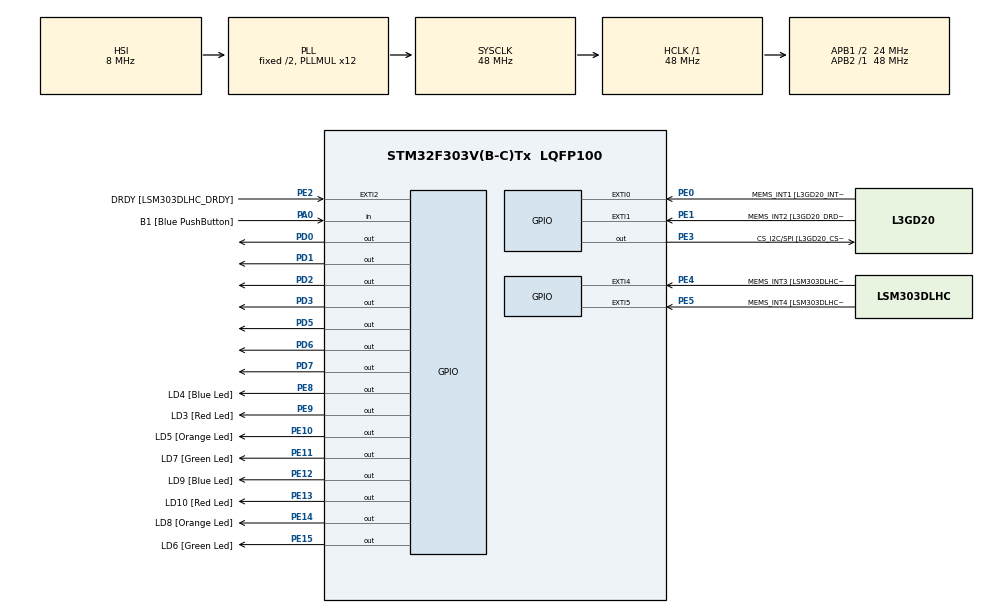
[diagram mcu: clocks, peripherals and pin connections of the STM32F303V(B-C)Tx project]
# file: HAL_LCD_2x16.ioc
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Mcu.Family=STM32F3
Mcu.Name=STM32F303V(B-C)Tx
Mcu.Package=LQFP100
NVIC.PriorityGroup=NVIC_PRIORITYGROUP_0
PA0.GPIO_Label=B1 [Blue PushButton]
PA0.GPIO_Mode=GPIO_MODE_INPUT
PA0.GPIO_PuPd=GPIO_NOPULL
PA0.Signal=GPIO_Input
PA11.GPIO_Label=DM
PA11.Signal=USB_DM
PA12.GPIO_Label=DP
PA12.Signal=USB_DP
PA13.GPIO_Label=SWDIO
PA13.Signal=SYS_JTMS-SWDIO
PA14.GPIO_Label=SWCLK
PA14.Signal=SYS_JTCK-SWCLK
PA5.GPIO_Label=SPI1_SCK [L3GD20_SCL/SPC]
PA5.GPIO_Mode=GPIO_MODE_AF_PP
PA5.GPIO_PuPd=GPIO_NOPULL
PA5.GPIO_Speed=GPIO_SPEED_FREQ_LOW
PA5.Signal=SPI1_SCK
PA6.GPIO_Label=SPI1_MISO [L3GD20_SA0/SDO]
PA6.GPIO_Mode=GPIO_MODE_AF_PP
PA6.GPIO_PuPd=GPIO_NOPULL
PA6.GPIO_Speed=GPIO_SPEED_FREQ_LOW
PA6.Signal=SPI1_MISO
PA7.GPIO_Label=SPI1_MISO [L3GD20_SDA/SDI/SDO]
PA7.GPIO_Mode=GPIO_MODE_AF_PP
PA7.GPIO_PuPd=GPIO_NOPULL
PA7.GPIO_Speed=GPIO_SPEED_FREQ_LOW
PA7.Signal=SPI1_MOSI
PB3.GPIO_Label=SWO
PB3.Signal=SYS_JTDO-TRACESWO
PB6.GPIO_FM6=__NULL
PB6.GPIO_Label=I2C1_SCL [LSM303DLHC_SCL]
PB6.GPIO_Mode=GPIO_MODE_AF_OD
PB6.GPIO_PuPd=GPIO_NOPULL
PB6.GPIO_Speed=GPIO_SPEED_FREQ_LOW
PB6.Signal=I2C1_SCL
PB7.GPIO_FM7=__NULL
PB7.GPIO_Label=I2C1_SDA [LSM303DLHC_SDA]
PB7.GPIO_Mode=GPIO_MODE_AF_OD
PB7.GPIO_PuPd=GPIO_NOPULL
PB7.GPIO_Speed=GPIO_SPEED_FREQ_LOW
PB7.Signal=I2C1_SDA
PC14-OSC32_IN.GPIO_Label=OSC32_IN
PC14-OSC32_IN.Signal=RCC_OSC32_IN
PC15-OSC32_OUT.GPIO_Label=OSC32_OUT
PC15-OSC32_OUT.Signal=RCC_OSC32_OUT
PD0.GPIO_PuPd=GPIO_NOPULL
PD0.Signal=GPIO_Output
PD1.GPIO_PuPd=GPIO_NOPULL
PD1.Signal=GPIO_Output
PD2.GPIO_PuPd=GPIO_NOPULL
PD2.Signal=GPIO_Output
PD3.GPIO_PuPd=GPIO_NOPULL
PD3.Signal=GPIO_Output
PD5.GPIO_PuPd=GPIO_NOPULL
PD5.Signal=GPIO_Output
PD6.GPIO_PuPd=GPIO_NOPULL
PD6.Signal=GPIO_Output
PD7.GPIO_PuPd=GPIO_NOPULL
PD7.Signal=GPIO_Output
PE0.GPIO_Label=MEMS_INT1 [L3GD20_INT1]
PE0.GPIO_ModeDefaultEXTI=GPIO_MODE_EVT_RISING
PE0.GPIO_PuPd=GPIO_NOPULL
PE0.Signal=GPXTI0
PE1.GPIO_Label=MEMS_INT2 [L3GD20_DRDY/INT2]
PE1.GPIO_ModeDefaultEXTI=GPIO_MODE_EVT_RISING
PE1.GPIO_PuPd=GPIO_NOPULL
PE1.Signal=GPXTI1
PE10.GPIO_Label=LD5 [Orange Led]
PE10.GPIO_ModeDefaultOutputPP=GPIO_MODE_OUTPUT_PP
PE10.GPIO_PuPd=GPIO_NOPULL
PE10.GPIO_Speed=GPIO_SPEED_FREQ_LOW
PE10.Signal=GPIO_Output
PE11.GPIO_Label=LD7 [Green Led]
PE11.GPIO_ModeDefaultOutputPP=GPIO_MODE_OUTPUT_PP
PE11.GPIO_PuPd=GPIO_NOPULL
PE11.GPIO_Speed=GPIO_SPEED_FREQ_LOW
PE11.Signal=GPIO_Output
PE12.GPIO_Label=LD9 [Blue Led]
PE12.GPIO_ModeDefaultOutputPP=GPIO_MODE_OUTPUT_PP
PE12.GPIO_PuPd=GPIO_NOPULL
PE12.GPIO_Speed=GPIO_SPEED_FREQ_LOW
PE12.Signal=GPIO_Output
PE13.GPIO_Label=LD10 [Red Led]
PE13.GPIO_ModeDefaultOutputPP=GPIO_MODE_OUTPUT_PP
PE13.GPIO_PuPd=GPIO_NOPULL
PE13.GPIO_Speed=GPIO_SPEED_FREQ_LOW
PE13.Signal=GPIO_Output
PE14.GPIO_Label=LD8 [Orange Led]
PE14.GPIO_ModeDefaultOutputPP=GPIO_MODE_OUTPUT_PP
PE14.GPIO_PuPd=GPIO_NOPULL
PE14.GPIO_Speed=GPIO_SPEED_FREQ_LOW
PE14.Signal=GPIO_Output
PE15.GPIO_Label=LD6 [Green Led]
PE15.GPIO_ModeDefaultOutputPP=GPIO_MODE_OUTPUT_PP
PE15.GPIO_PuPd=GPIO_NOPULL
PE15.GPIO_Speed=GPIO_SPEED_FREQ_LOW
PE15.Signal=GPIO_Output
PE2.GPIO_Label=DRDY [LSM303DLHC_DRDY]
PE2.GPIO_ModeDefaultEXTI=GPIO_MODE_EVT_RISING
PE2.GPIO_PuPd=GPIO_NOPULL
PE2.Signal=GPXTI2
PE3.GPIO_Label=CS_I2C/SPI [L3GD20_CS_I2C/SPI]
PE3.GPIO_ModeDefaultOutputPP=GPIO_MODE_OUTPUT_PP
PE3.GPIO_PuPd=GPIO_NOPULL
PE3.GPIO_Speed=GPIO_SPEED_FREQ_LOW
PE3.Signal=GPIO_Output
PE4.GPIO_Label=MEMS_INT3 [LSM303DLHC_INT1]
PE4.GPIO_ModeDefaultEXTI=GPIO_MODE_EVT_RISING
PE4.GPIO_PuPd=GPIO_NOPULL
PE4.Signal=GPXTI4
PE5.GPIO_Label=MEMS_INT4 [LSM303DLHC_INT2]
PE5.GPIO_ModeDefaultEXTI=GPIO_MODE_EVT_RISING
PE5.GPIO_PuPd=GPIO_NOPULL
PE5.Signal=GPXTI5
PE8.GPIO_Label=LD4 [Blue Led]
PE8.GPIO_ModeDefaultOutputPP=GPIO_MODE_OUTPUT_PP
PE8.GPIO_PuPd=GPIO_NOPULL
PE8.GPIO_Speed=GPIO_SPEED_FREQ_LOW
PE8.Signal=GPIO_Output
PE9.GPIO_Label=LD3 [Red Led]
PE9.GPIO_ModeDefaultOutputPP=GPIO_MODE_OUTPUT_PP
PE9.GPIO_PuPd=GPIO_NOPULL
PE9.GPIO_Speed=GPIO_SPEED_FREQ_LOW
PE9.Signal=GPIO_Output
PF0-OSC_IN.GPIO_Label=OSC_IN
PF0-OSC_IN.Signal=RCC_OSC_IN
PF1-OSC_OUT.GPIO_Label=OSC_OUT
PF1-OSC_OUT.Signal=RCC_OSC_OUT
ProjectManager.HeapSize=0x200
ProjectManager.StackSize=0x400
ProjectManager.TargetToolchain=STM32CubeIDE
RCC.AHBFreq_Value=48000000
RCC.APB1CLKDivider=RCC_HCLK_DIV2
RCC.APB1Freq_Value=24000000
RCC.APB1TimFreq_Value=48000000
RCC.APB2Freq_Value=48000000
RCC.APB2TimFreq_Value=48000000
RCC.CortexFreq_Value=48000000
RCC.HCLKFreq_Value=48000000
RCC.HSE_VALUE=8000000
RCC.HSI_VALUE=8000000
RCC.LSE_VALUE=32768
RCC.PLLMUL=RCC_PLL_MUL12
RCC.SYSCLKFreq_VALUE=48000000
RCC.SYSCLKSourceVirtual=RCC_SYSCLKSOURCE_PLLCLK
RCC.USBFreq_Value=48000000
board=STM32F3DISCOVERY

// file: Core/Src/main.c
/* USER CODE BEGIN Header */
/**
  ******************************************************************************
  * @file           : main.c
  * @brief          : Main program body
  ******************************************************************************
  * @attention
  *
  * Copyright (c) 2023 STMicroelectronics.
  * All rights reserved.
  *
  * This software is licensed under terms that can be found in the LICENSE file
  * in the root directory of this software component.
  * If no LICENSE file comes with this software, it is provided AS-IS.
  *
  ******************************************************************************
  */
/* USER CODE END Header */
#include "main.h"

/* USER CODE BEGIN Includes */
#include "HD44780.h"

/* USER CODE END Includes */

void SystemClock_Config(void);
static void MX_GPIO_Init(void);

int main(void)
{

  /* MCU Configuration--------------------------------------------------------*/

  /* Reset of all peripherals, Initializes the Flash interface and the Systick. */
  HAL_Init();

  /* Configure the system clock */
  SystemClock_Config();

  /* Initialize all configured peripherals */
  MX_GPIO_Init();
  /* USER CODE BEGIN 2 */
  lcd_init();
//  lcd_send_text("Hello World");
  uint32_t command = (SET_DDRAM_ADDR)|(0x40);
  lcd_send_command(command);

  command = (LCD_ONOFF | LCD_DISPLAY_ON | LCD_COURSOR_OFF | LCD_BLINKINGCOURSOR_OFF);
  lcd_send_command(command);

  lcd_add_specials();
  lcd_clear();

  ////////////////////////set 0 position
  Reset_RS();
  Reset_RW();
  lcd_send_byte(0b10000000);

  Set_RS();
  lcd_send_byte(0b00000000); // send special character
  lcd_send_text(" Hello ");
  lcd_send_byte(0b00000000); // send special character

  /* USER CODE END 2 */

  /* Infinite loop */
  /* USER CODE BEGIN WHILE */
  while (1)
  {
	  for(int i = 0; i <7; i++){
		  lcd_send_command(LCD_CURSOR_DISPLAY_SHIFT|DISPLAY_SHIFT|SHIFT_RIGHT);
		  HAL_Delay(1000);
	  }

	  for(int i = 0; i <(7); i++){
		  lcd_send_command(LCD_CURSOR_DISPLAY_SHIFT|DISPLAY_SHIFT|SHIFT_LEFT);
		  HAL_Delay(500);
	  }
    /* USER CODE END WHILE */

  }
}

void SystemClock_Config(void)
{
  RCC_OscInitTypeDef RCC_OscInitStruct = {0};
  RCC_ClkInitTypeDef RCC_ClkInitStruct = {0};

  /** Initializes the RCC Oscillators according to the specified parameters
  * in the RCC_OscInitTypeDef structure.
  */
  RCC_OscInitStruct.OscillatorType = RCC_OSCILLATORTYPE_HSI;
  RCC_OscInitStruct.HSIState = RCC_HSI_ON;
  RCC_OscInitStruct.HSICalibrationValue = RCC_HSICALIBRATION_DEFAULT;
  RCC_OscInitStruct.PLL.PLLState = RCC_PLL_ON;
  RCC_OscInitStruct.PLL.PLLSource = RCC_PLLSOURCE_HSI;
  RCC_OscInitStruct.PLL.PLLMUL = RCC_PLL_MUL12;
  if (HAL_RCC_OscConfig(&RCC_OscInitStruct) != HAL_OK)
  {
    Error_Handler();
  }

  /** Initializes the CPU, AHB and APB buses clocks
  */
  RCC_ClkInitStruct.ClockType = RCC_CLOCKTYPE_HCLK|RCC_CLOCKTYPE_SYSCLK
                              |RCC_CLOCKTYPE_PCLK1|RCC_CLOCKTYPE_PCLK2;
  RCC_ClkInitStruct.SYSCLKSource = RCC_SYSCLKSOURCE_PLLCLK;
  RCC_ClkInitStruct.AHBCLKDivider = RCC_SYSCLK_DIV1;
  RCC_ClkInitStruct.APB1CLKDivider = RCC_HCLK_DIV2;
  RCC_ClkInitStruct.APB2CLKDivider = RCC_HCLK_DIV1;

  if (HAL_RCC_ClockConfig(&RCC_ClkInitStruct, FLASH_LATENCY_1) != HAL_OK)
  {
    Error_Handler();
  }
}

static void MX_GPIO_Init(void)
{
  GPIO_InitTypeDef GPIO_InitStruct = {0};

  /* GPIO Ports Clock Enable */
  __HAL_RCC_GPIOE_CLK_ENABLE();
  __HAL_RCC_GPIOC_CLK_ENABLE();
  __HAL_RCC_GPIOF_CLK_ENABLE();
  __HAL_RCC_GPIOA_CLK_ENABLE();
  __HAL_RCC_GPIOD_CLK_ENABLE();
  __HAL_RCC_GPIOB_CLK_ENABLE();

  /*Configure GPIO pin Output Level */
  HAL_GPIO_WritePin(GPIOE, CS_I2C_SPI_Pin|LD4_Pin|LD3_Pin|LD5_Pin
                          |LD7_Pin|LD9_Pin|LD10_Pin|LD8_Pin
                          |LD6_Pin, GPIO_PIN_RESET);

  /*Configure GPIO pin Output Level */
  HAL_GPIO_WritePin(GPIOD, GPIO_PIN_0|GPIO_PIN_1|GPIO_PIN_2|GPIO_PIN_3
                          |GPIO_PIN_5|GPIO_PIN_6|GPIO_PIN_7, GPIO_PIN_RESET);

  /*Configure GPIO pins : DRDY_Pin MEMS_INT3_Pin MEMS_INT4_Pin MEMS_INT1_Pin
                           MEMS_INT2_Pin */
  GPIO_InitStruct.Pin = DRDY_Pin|MEMS_INT3_Pin|MEMS_INT4_Pin|MEMS_INT1_Pin
                          |MEMS_INT2_Pin;
  GPIO_InitStruct.Mode = GPIO_MODE_EVT_RISING;
  GPIO_InitStruct.Pull = GPIO_NOPULL;
  HAL_GPIO_Init(GPIOE, &GPIO_InitStruct);

  /*Configure GPIO pins : CS_I2C_SPI_Pin LD4_Pin LD3_Pin LD5_Pin
                           LD7_Pin LD9_Pin LD10_Pin LD8_Pin
                           LD6_Pin */
  GPIO_InitStruct.Pin = CS_I2C_SPI_Pin|LD4_Pin|LD3_Pin|LD5_Pin
                          |LD7_Pin|LD9_Pin|LD10_Pin|LD8_Pin
                          |LD6_Pin;
  GPIO_InitStruct.Mode = GPIO_MODE_OUTPUT_PP;
  GPIO_InitStruct.Pull = GPIO_NOPULL;
  GPIO_InitStruct.Speed = GPIO_SPEED_FREQ_LOW;
  HAL_GPIO_Init(GPIOE, &GPIO_InitStruct);

  /*Configure GPIO pin : B1_Pin */
  GPIO_InitStruct.Pin = B1_Pin;
  GPIO_InitStruct.Mode = GPIO_MODE_INPUT;
  GPIO_InitStruct.Pull = GPIO_NOPULL;
  HAL_GPIO_Init(B1_GPIO_Port, &GPIO_InitStruct);

  /*Configure GPIO pins : SPI1_SCK_Pin SPI1_MISO_Pin SPI1_MISOA7_Pin */
  GPIO_InitStruct.Pin = SPI1_SCK_Pin|SPI1_MISO_Pin|SPI1_MISOA7_Pin;
  GPIO_InitStruct.Mode = GPIO_MODE_AF_PP;
  GPIO_InitStruct.Pull = GPIO_NOPULL;
  GPIO_InitStruct.Speed = GPIO_SPEED_FREQ_LOW;
  GPIO_InitStruct.Alternate = GPIO_AF5_SPI1;
  HAL_GPIO_Init(GPIOA, &GPIO_InitStruct);

  /*Configure GPIO pins : DM_Pin DP_Pin */
  GPIO_InitStruct.Pin = DM_Pin|DP_Pin;
  GPIO_InitStruct.Mode = GPIO_MODE_AF_PP;
  GPIO_InitStruct.Pull = GPIO_NOPULL;
  GPIO_InitStruct.Speed = GPIO_SPEED_FREQ_HIGH;
  GPIO_InitStruct.Alternate = GPIO_AF14_USB;
  HAL_GPIO_Init(GPIOA, &GPIO_InitStruct);

  /*Configure GPIO pins : PD0 PD1 PD2 PD3
                           PD5 PD6 PD7 */
  GPIO_InitStruct.Pin = GPIO_PIN_0|GPIO_PIN_1|GPIO_PIN_2|GPIO_PIN_3
                          |GPIO_PIN_5|GPIO_PIN_6|GPIO_PIN_7;
  GPIO_InitStruct.Mode = GPIO_MODE_OUTPUT_PP;
  GPIO_InitStruct.Pull = GPIO_NOPULL;
  GPIO_InitStruct.Speed = GPIO_SPEED_FREQ_LOW;
  HAL_GPIO_Init(GPIOD, &GPIO_InitStruct);

  /*Configure GPIO pins : I2C1_SCL_Pin I2C1_SDA_Pin */
  GPIO_InitStruct.Pin = I2C1_SCL_Pin|I2C1_SDA_Pin;
  GPIO_InitStruct.Mode = GPIO_MODE_AF_OD;
  GPIO_InitStruct.Pull = GPIO_NOPULL;
  GPIO_InitStruct.Speed = GPIO_SPEED_FREQ_LOW;
  GPIO_InitStruct.Alternate = GPIO_AF4_I2C1;
  HAL_GPIO_Init(GPIOB, &GPIO_InitStruct);

}

void Error_Handler(void)
{
  __disable_irq();
  while (1)
  {
  }
}
